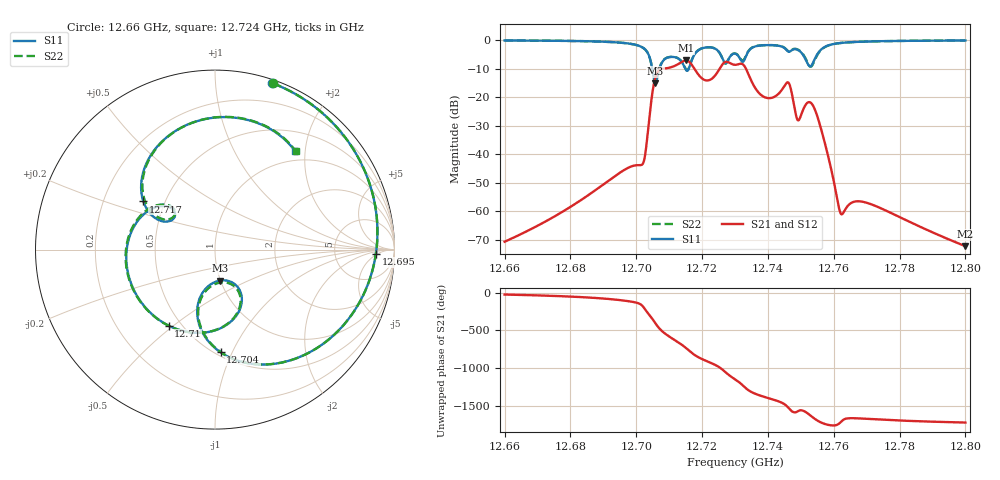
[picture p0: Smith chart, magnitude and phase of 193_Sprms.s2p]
! TOUCHSTONE file generated by CST MICROWAVE STUDIO
! Date and time: Wed Jul 31 20:40:52 2024
! Project name: WaveGuide_BPF-Ver4.1_U-shape_Ku_T3_C4_CWA_2.cst
! Parameters = {cavity_h=16; cavity_l0=10; cavity_l1=15.1935; cavity_l2=16.8619; cavity_l3=17.076; cavity_l4=17.3007; cavity_l5=17.1464; cavity_l6=17.5996; cavity_r=2.5; cavity_screw_l=0.5; cavity_screw_r=1.5; cavity_w=8; iris_h00=0; iris_h01=8.8229; iris_h112=0; iris_h12=5.5982; iris_h211=3.6606; i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
! Header version: 2018
! Port assignment regex: !\s*Touchstone port\s*([0-9]+)\s*=\s*(CST MWS port|CST DS port)\s*([0-9]+|Zmin|Zmax)\s*\(\"(.*)\"\)(\s*mode\s*([0-9]+))?.*
! Touchstone port assignment:
! Touchstone port 1 = CST MWS port 1 ("")
! Touchstone port 2 = CST MWS port 2 ("")
# GHz S RI R 50
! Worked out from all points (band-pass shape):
!   5001 points, 12.66 GHz to 12.8 GHz, reference 50 ohm
!   highest |S21| = -7.15 dB at 12.715 GHz (marker M1); lowest = -72.2 dB at 12.8 GHz (marker M2)
!   |S21| within 3 dB of the highest: 12.70767 GHz to 12.71771 GHz (10.04 MHz wide, 0.0789 % of centre); 12.72529 GHz to 12.73337 GHz (8.08 MHz wide, 0.0635 % of centre)
!   lowest |S11| = -15.1 dB at 12.706 GHz (marker M3), VSWR 1.42, Z = 49.8 - j17.7 ohm
!   |S11| at or under -10 dB: 12.70484 GHz to 12.70708 GHz (2.235 MHz wide, 0.0176 % of centre); 12.71487 GHz to 12.71597 GHz (1.104 MHz wide, 0.00868 % of centre)
!   |S22| runs from -14.6 to -0.2 dB; largest |S21 - S12| = 1e-09
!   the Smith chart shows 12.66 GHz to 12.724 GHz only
!   S11 on the Smith chart (normalised r, x): 12.66 GHz: 0.03, +1.40; 12.695 GHz: 17, -4; 12.704 GHz: 0.53, -0.90; 12.71 GHz: 0.43, -0.48; 12.717 GHz: 0.38, +0.26; 12.724 GHz: 0.81, +1.80
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12.66  0.3197 0.9273  0.00027 -0.000116  0.00027 -0.000116  0.3235 0.9261
12.68335  0.7445 0.5986  0.000859 -0.00135  0.000859 -0.00135  0.746 0.5969
12.69531  0.8961 -0.0242  -0.000696 -0.00482  -0.000696 -0.00482  0.8963 -0.0249
12.70183  0.4125 -0.619  -0.00656 -0.000992  -0.00656 -0.000992  0.4129 -0.619
12.70362  0.0313 -0.5723  0.00193 0.0277  0.00193 0.0277  0.0322 -0.5709
12.70581  0.0284 -0.1725  0.1551 -0.1554  0.1551 -0.1554  0.039 -0.1826
12.70668  0.1349 -0.2212  -0.0263 -0.2822  -0.0263 -0.2822  0.1339 -0.2398
12.7097  -0.2587 -0.4233  -0.2783 0.1657  -0.2783 0.1657  -0.276 -0.4152
12.71513  -0.2222 0.1979  0.4265 -0.1033  0.4265 -0.1033  -0.2226 0.2066
12.71712  -0.3991 0.2686  0.0241 -0.35  0.0241 -0.35  -0.3944 0.2835
12.7239  0.4432 0.5518  -0.137 0.193  -0.137 0.193  0.4504 0.5474
12.72756  0.2984 0.2843  0.408 0.0724  0.408 0.0724  0.2942 0.2843
12.73  0.5211 0.2459  0.1456 -0.3373  0.1456 -0.3373  0.5204 0.2568
12.73274  0.3971 0.1801  -0.3432 -0.0991  -0.3432 -0.0991  0.4153 0.1844
12.73725  0.7584 -0.239  0.0145 0.1176  0.0145 0.1176  0.7616 -0.2394
12.74352  0.0955 -0.7808  0.1188 -0.00912  0.1188 -0.00912  0.1116 -0.7827
12.75005  -0.5828 -0.1693  -0.0223 -0.0424  -0.0223 -0.0424  -0.5861 -0.2085
12.75335  0.2517 0.265  -0.0706 0.0288  -0.0706 0.0288  0.2042 0.2859
12.75733  0.2903 -0.7006  0.00774 0.0134  0.00774 0.0134  0.2994 -0.6895
12.7622  -0.3143 -0.8302  -2.32e-06 0.000903  -2.32e-06 0.000903  -0.3121 -0.8299
12.77668  -0.9041 -0.3133  -0.000381 0.000904  -0.000381 0.000904  -0.9048 -0.3109
12.8  -0.9528 0.2293  4.48e-05 0.000242  4.48e-05 0.000242  -0.9518 0.2332
